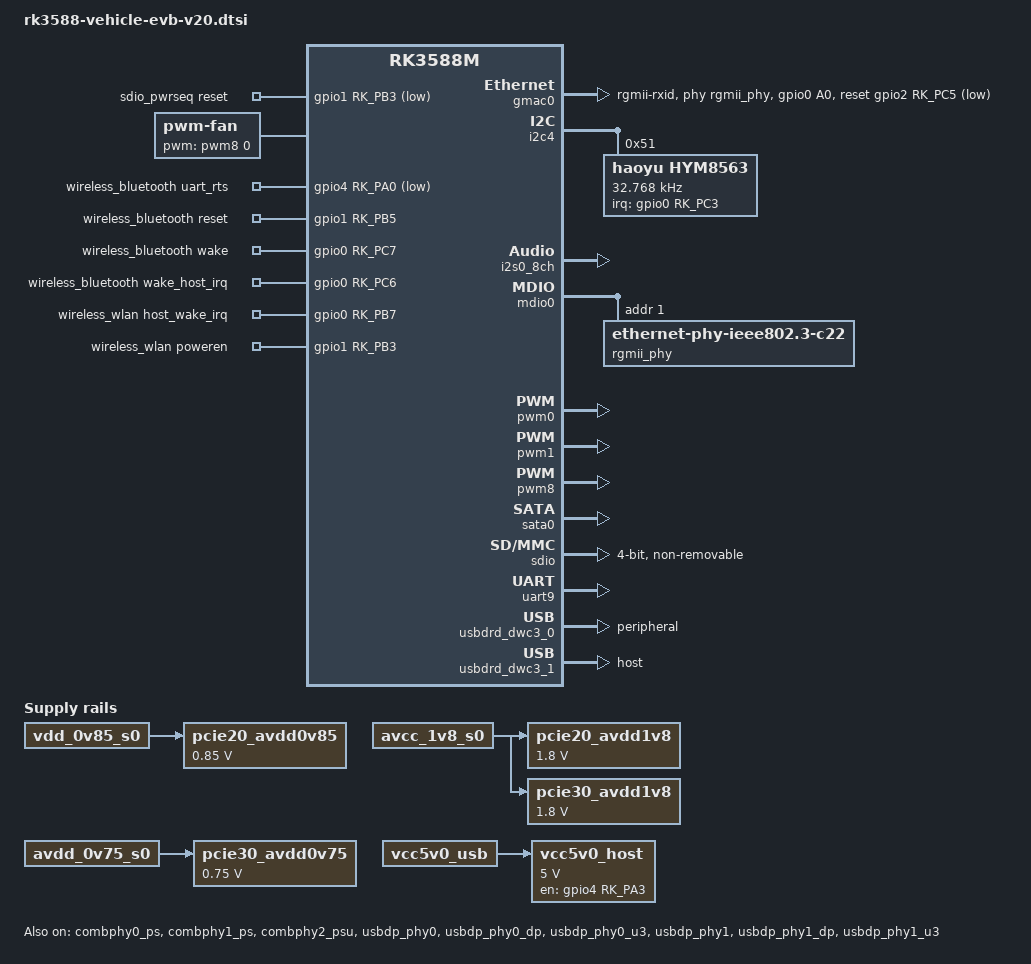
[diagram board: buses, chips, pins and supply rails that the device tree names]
// SPDX-License-Identifier: (GPL-2.0+ OR MIT)
/*
 * Copyright (c) 2023 Rockchip Electronics Co., Ltd.
 *
 */

#include "dt-bindings/usb/pd.h"
#include "rk3588m.dtsi"
#include "rk3588-vehicle-v20.dtsi"
#include "rk3588-rk806-dual.dtsi"
/ {
	pcie20_avdd0v85: pcie20-avdd0v85 {
		compatible = "regulator-fixed";
		regulator-name = "pcie20_avdd0v85";
		regulator-boot-on;
		regulator-always-on;
		regulator-min-microvolt = <850000>;
		regulator-max-microvolt = <850000>;
		vin-supply = <&vdd_0v85_s0>;
	};

	pcie20_avdd1v8: pcie20-avdd1v8 {
		compatible = "regulator-fixed";
		regulator-name = "pcie20_avdd1v8";
		regulator-boot-on;
		regulator-always-on;
		regulator-min-microvolt = <1800000>;
		regulator-max-microvolt = <1800000>;
		vin-supply = <&avcc_1v8_s0>;
	};

	pcie30_avdd0v75: pcie30-avdd0v75 {
		compatible = "regulator-fixed";
		regulator-name = "pcie30_avdd0v75";
		regulator-boot-on;
		regulator-always-on;
		regulator-min-microvolt = <750000>;
		regulator-max-microvolt = <750000>;
		vin-supply = <&avdd_0v75_s0>;
	};

	pcie30_avdd1v8: pcie30-avdd1v8 {
		compatible = "regulator-fixed";
		regulator-name = "pcie30_avdd1v8";
		regulator-boot-on;
		regulator-always-on;
		regulator-min-microvolt = <1800000>;
		regulator-max-microvolt = <1800000>;
		vin-supply = <&avcc_1v8_s0>;
	};

	sdio_pwrseq: sdio-pwrseq {
		compatible = "mmc-pwrseq-simple";
		clocks = <&hym8563>;
		clock-names = "ext_clock";
		pinctrl-names = "default";
		pinctrl-0 = <&wifi_enable_h>;
		/*
		 * On the module itself this is one of these (depending
		 * on the actual card populated):
		 * - SDIO_RESET_L_WL_REG_ON
		 * - PDN (power down when low)
		 */
		post-power-on-delay-ms = <10>;
		reset-gpios = <&gpio1 RK_PB3 GPIO_ACTIVE_LOW>;
		status = "okay";
	};

	fan: pwm-fan {
		compatible = "pwm-fan";
		#cooling-cells = <2>;
		pwms = <&pwm8 0 50000 0>;
		cooling-levels = <0 50 100 150 200 255>;
		rockchip,temp-trips = <
			50000	1
			55000	2
			60000	3
			65000	4
			70000	5
		>;
	};

	vcc5v0_host: vcc5v0-host {
		compatible = "regulator-fixed";
		regulator-name = "vcc5v0_host";
		regulator-boot-on;
		regulator-always-on;
		regulator-min-microvolt = <5000000>;
		regulator-max-microvolt = <5000000>;
		enable-active-high;
		gpio = <&gpio4 RK_PA3 GPIO_ACTIVE_HIGH>;
		vin-supply = <&vcc5v0_usb>;
		pinctrl-names = "default";
		pinctrl-0 = <&vcc5v0_host_en>;
	};

	wireless_bluetooth: wireless-bluetooth {
		compatible = "bluetooth-platdata";
		clocks = <&hym8563>;
		clock-names = "ext_clock";
		uart_rts_gpios = <&gpio4 RK_PA0 GPIO_ACTIVE_LOW>;
		pinctrl-names = "default", "rts_gpio";
		pinctrl-0 = <&uart9m1_rtsn>, <&bt_reset_gpio>, <&bt_wake_gpio>, <&bt_irq_gpio>;
		pinctrl-1 = <&uart9_gpios>;
		BT,reset_gpio    = <&gpio1 RK_PB5 GPIO_ACTIVE_HIGH>;
		BT,wake_gpio     = <&gpio0 RK_PC7 GPIO_ACTIVE_HIGH>;
		BT,wake_host_irq = <&gpio0 RK_PC6 GPIO_ACTIVE_HIGH>;
		status = "okay";
	};

	wireless_wlan: wireless-wlan {
		compatible = "wlan-platdata";
		wifi_chip_type = "ap6398s";
		pinctrl-names = "default";
		pinctrl-0 = <&wifi_host_wake_irq>;
		WIFI,host_wake_irq = <&gpio0 RK_PB7 GPIO_ACTIVE_HIGH>;
		WIFI,poweren_gpio = <&gpio1 RK_PB3 GPIO_ACTIVE_HIGH>;
		status = "okay";
	};

	dummy_codec: dummy-codec {
		status = "okay";
		compatible = "rockchip,dummy-codec";
		#sound-dai-cells = <0>;
		pinctrl-names = "default";
		pinctrl-0 = <&rk3308_reset>;
	};

	car_rk3308_sound: car-rk3308-sound {
		status = "okay";
		compatible = "simple-audio-card";
		simple-audio-card,name = "rockchip,car-rk3308-sound";
		simple-audio-card,format = "i2s";
		simple-audio-card,mclk-fs = <256>;
		simple-audio-card,bitclock-master = <&codec_master>;
		simple-audio-card,frame-master = <&codec_master>;
		simple-audio-card,cpu {
			sound-dai = <&i2s0_8ch>;
		};
		codec_master: simple-audio-card,codec {
			sound-dai = <&dummy_codec>;
		};
	};
};

&combphy0_ps {
	status = "okay";
};

&combphy1_ps {
	status = "okay";
};

&combphy2_psu {
	status = "okay";
};

&gmac0 {
	/* Use rgmii-rxid mode to disable rx delay inside Soc */
	phy-mode = "rgmii-rxid";
	clock_in_out = "output";
	snps,reset-gpio = <&gpio2 RK_PC5 GPIO_ACTIVE_LOW>;
	snps,reset-active-low;
	/* Reset time is 20ms, 100ms for rtl8211f */
	snps,reset-delays-us = <0 20000 100000>;
	pinctrl-names = "default";
	pinctrl-0 = <&gmac0_miim
		     &gmac0_tx_bus2
		     &gmac0_rx_bus2
		     &gmac0_rgmii_clk
		     &gmac0_rgmii_bus
		     &phydisb>;
	tx_delay = <0x43>;
	//rx_delay = <0x3f>;
	phy-handle = <&rgmii_phy>;
	status = "okay";
};

&i2c4 {
	status = "okay";
	pinctrl-0 = <&i2c4m2_xfer>;
	hym8563: hym8563@51 {
		compatible = "haoyu,hym8563";
		reg = <0x51>;
		#clock-cells = <0>;
		clock-frequency = <32768>;
		clock-output-names = "hym8563";
		pinctrl-names = "default";
		pinctrl-0 = <&hym8563_int>;
		interrupt-parent = <&gpio0>;
		interrupts = <RK_PC3 IRQ_TYPE_LEVEL_LOW>;
		wakeup-source;
	};

};

&i2s0_8ch {
	status = "okay";
	pinctrl-names = "default";
	pinctrl-0 = <&i2s0_lrck
		     &i2s0_sclk
		     &i2s0_sdi0
		     &i2s0_sdi1
		     &i2s0_sdo0
		     &i2s0_sdo1
		     &i2s0_sdo2
		     &i2s0_sdo3>;
};

&mdio0 {
	rgmii_phy: phy@1 {
		compatible = "ethernet-phy-ieee802.3-c22";
		reg = <0x1>;
	};
};

&pcie2x1l0 {
	reset-gpios = <&gpio1 RK_PB4 GPIO_ACTIVE_HIGH>;
	rockchip,skip-scan-in-resume;
	pinctrl-names = "default";
	pinctrl-0 = <&wifi_enable_h>;
	status = "disabled";
};

&pcie2x1l2 {
	reset-gpios = <&gpio1 RK_PB4 GPIO_ACTIVE_HIGH>;
	status = "disabled";
};

&pinctrl {
	gmac0 {
		phydisb: phydisb {
			rockchip,pins = <0 RK_PA0 RK_FUNC_GPIO &pcfg_output_high>;
		};
	};

	hym8563 {
		hym8563_int: hym8563-int {
			rockchip,pins = <0 RK_PC3 RK_FUNC_GPIO &pcfg_pull_up>;
		};
	};

	sdio-pwrseq {
		wifi_enable_h: wifi-enable-h {
			rockchip,pins = <1 RK_PB3 RK_FUNC_GPIO &pcfg_pull_up>;
		};
	};

	usb {
		vcc5v0_host_en: vcc5v0-host-en {
			rockchip,pins = <4 RK_PA3 RK_FUNC_GPIO &pcfg_pull_none>;
		};
	};


	wireless-bluetooth {
		uart9_gpios: uart9-gpios {
			rockchip,pins = <4 RK_PA0 RK_FUNC_GPIO &pcfg_pull_none>;
		};

		bt_reset_gpio: bt-reset-gpio {
			rockchip,pins = <1 RK_PB5 RK_FUNC_GPIO &pcfg_pull_none>;
		};

		bt_wake_gpio: bt-wake-gpio {
			rockchip,pins = <0 RK_PC7 RK_FUNC_GPIO &pcfg_pull_none>;
		};

		bt_irq_gpio: bt-irq-gpio {
			rockchip,pins = <0 RK_PC6 RK_FUNC_GPIO &pcfg_pull_none>;
		};
	};

	wireless-wlan {
		wifi_host_wake_irq: wifi-host-wake-irq {
			rockchip,pins = <0 RK_PB7 RK_FUNC_GPIO &pcfg_pull_down>;
		};
	};

	rk3308 {
		rk3308_reset: rk3308-reset {
			rockchip,pins = <4 RK_PC6 RK_FUNC_GPIO &pcfg_pull_up>;
		};
	};
};

&pwm0 {
	pinctrl-0 = <&pwm0m2_pins>;
	status = "okay";
};

&pwm1 {
	pinctrl-0 = <&pwm1m2_pins>;
	status = "okay";
};

&pwm8 {
	pinctrl-0 = <&pwm8m1_pins>;
	status = "okay";
};

&sata0 {
	status = "okay";
};

&sdio {
	max-frequency = <150000000>;
	no-sd;
	no-mmc;
	bus-width = <4>;
	disable-wp;
	cap-sd-highspeed;
	cap-sdio-irq;
	keep-power-in-suspend;
	mmc-pwrseq = <&sdio_pwrseq>;
	non-removable;
	pinctrl-names = "default";
	pinctrl-0 = <&sdiom1_pins>;
	status = "okay";
};

&sdmmc {
	status = "disabled";
};

&uart9 {
	status = "okay";
	pinctrl-names = "default";
	pinctrl-0 = <&uart9m1_xfer &uart9m1_ctsn>;
};

&u2phy1_otg {
	phy-supply = <&vcc5v0_host>;
};

&u2phy2_host {
	phy-supply = <&vcc5v0_host>;
};

&u2phy3_host {
	phy-supply = <&vcc5v0_host>;
};

&usbdp_phy0 {
	rockchip,dp-lane-mux = <2 3>;
	status = "okay";
};

&usbdp_phy0_dp {
	status = "okay";
};

&usbdp_phy0_u3 {
	status = "okay";
};

&usbdp_phy1 {
	rockchip,dp-lane-mux = <3 2 1 0>;
	status = "okay";
};

&usbdp_phy1_dp {
	status = "okay";
};

&usbdp_phy1_u3 {
	maximum-speed = "high-speed";
	status = "okay";
};

&usbdrd_dwc3_0 {
	dr_mode = "peripheral";
	maximum-speed = "high-speed";
	extcon = <&u2phy0>;
	status = "okay";
};

&usbdrd_dwc3_1 {
	dr_mode = "host";
	maximum-speed = "high-speed";
	snps,dis_u2_susphy_quirk;
	status = "okay";
};
